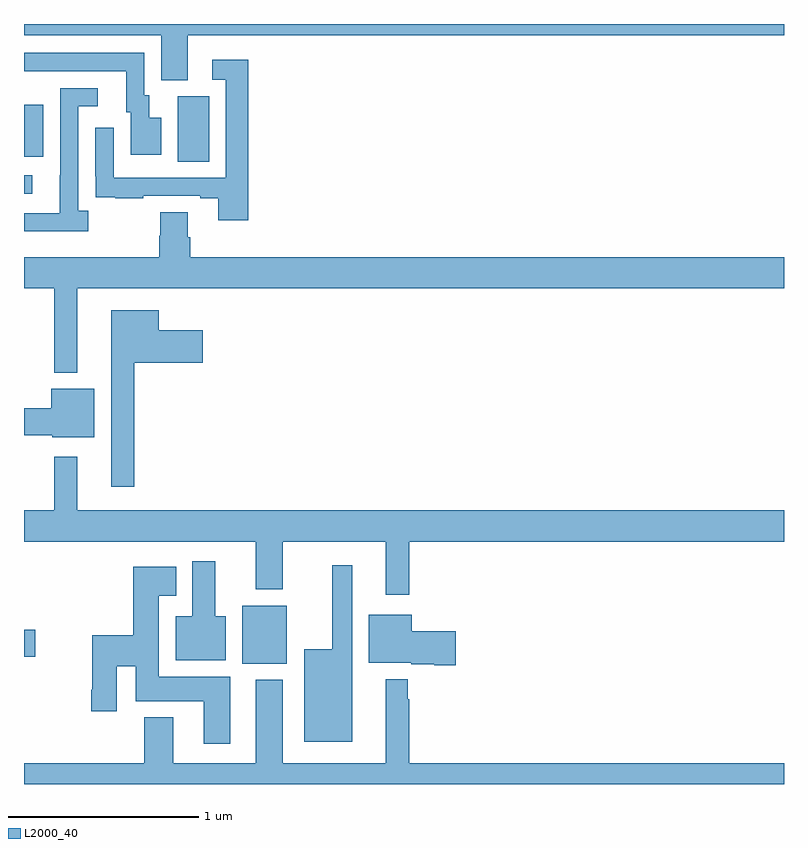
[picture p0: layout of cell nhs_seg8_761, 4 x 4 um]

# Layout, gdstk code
import gdstk
lib = gdstk.Library(unit=1e-6, precision=1e-09)
def R(c, l, rs):  # rectangles x0, y0, x1, y1
    for r in rs: c.add(gdstk.rectangle(r[:2], r[2:], *l))
def P(c, l, *ps):  # polygons
    for p in ps: c.add(gdstk.Polygon(p, *l))
L2000_40 = (2000, 40)

nhs_seg8_761 = lib.new_cell('nhs_seg8_761')
R(nhs_seg8_761, L2000_40, [(162.149,1106.534,162.382,1106.839), (161,1106.57,161.059,1106.712), (161,1109.007,161.044,1109.103), (161.81,1109.176,161.974,1109.52), (161,1109.201,161.101,1109.476)])
P(nhs_seg8_761, L2000_40, [(161.863,1109.84),(165,1109.84),(165,1109.9),(161,1109.9),(161,1109.84),(161.723,1109.84),(161.723,1109.605),(161.863,1109.605)],
  [(161.722,1109.407),(161.659,1109.407),(161.659,1109.526),(161.634,1109.526),(161.634,1109.748),(161,1109.748),(161,1109.652),(161.537,1109.652),(161.537,1109.436),(161.561,1109.436),(161.561,1109.211),(161.722,1109.211)],
  [(162.179,1109.713),(161.991,1109.713),(161.991,1109.607),(162.063,1109.607),(162.063,1109.091),(161.472,1109.091),(161.472,1109.353),(161.376,1109.353),(161.376,1109.098),(161.377,1109.098),(161.377,1108.989),(161.479,1108.989),(161.479,1108.983),(161.627,1108.983),(161.627,1108.995),(161.927,1108.995),(161.927,1108.983),(162.023,1108.983),(162.023,1108.866),(162.179,1108.866)],
  [(161.338,1108.918),(161.286,1108.918),(161.286,1109.466),(161.389,1109.466),(161.389,1109.562),(161.19,1109.562),(161.19,1109.105),(161.189,1109.105),(161.189,1108.905),(161,1108.905),(161,1108.808),(161.338,1108.808)],
  [(161.281,1108.508),(165,1108.508),(165,1108.672),(161.876,1108.672),(161.876,1108.778),(161.863,1108.778),(161.863,1108.91),(161.716,1108.91),(161.716,1108.785),(161.711,1108.785),(161.711,1108.672),(161,1108.672),(161,1108.508),(161.16,1108.508),(161.16,1108.064),(161.281,1108.064)],
  [(161.581,1108.118),(161.941,1108.118),(161.941,1108.288),(161.71,1108.288),(161.71,1108.393),(161.459,1108.393),(161.459,1107.465),(161.581,1107.465)],
  [(161.371,1107.979),(161.144,1107.979),(161.144,1107.878),(161,1107.878),(161,1107.736),(161.148,1107.736),(161.148,1107.725),(161.371,1107.725)],
  [(163.027,1107.176),(165,1107.176),(165,1107.34),(161.281,1107.34),(161.281,1107.622),(161.16,1107.622),(161.16,1107.34),(161,1107.34),(161,1107.176),(162.221,1107.176),(162.221,1106.924),(162.361,1106.924),(162.361,1107.176),(162.905,1107.176),(162.905,1106.895),(163.027,1106.895)],
  [(162.061,1106.782),(162.007,1106.782),(162.007,1107.073),(161.885,1107.073),(161.885,1106.782),(161.798,1106.782),(161.798,1106.552),(162.061,1106.552)],
  [(162.727,1107.052),(162.623,1107.052),(162.623,1106.608),(162.476,1106.608),(162.476,1106.123),(162.727,1106.123)],
  [(162.085,1106.464),(161.71,1106.464),(161.71,1106.891),(161.8,1106.891),(161.8,1107.043),(161.576,1107.043),(161.576,1106.684),(161.359,1106.684),(161.359,1106.395),(161.354,1106.395),(161.354,1106.283),(161.488,1106.283),(161.488,1106.519),(161.588,1106.519),(161.588,1106.336),(161.945,1106.336),(161.945,1106.112),(162.085,1106.112)],
  [(163.273,1106.703),(163.042,1106.703),(163.042,1106.791),(162.815,1106.791),(162.815,1106.537),(163.038,1106.537),(163.038,1106.531),(163.16,1106.531),(163.16,1106.525),(163.273,1106.525)],
  [(165,1106.008),(163.027,1106.008),(163.027,1106.345),(163.019,1106.345),(163.019,1106.452),(162.905,1106.452),(162.905,1106.008),(162.361,1106.008),(162.361,1106.449),(162.221,1106.449),(162.221,1106.008),(161.785,1106.008),(161.785,1106.251),(161.633,1106.251),(161.633,1106.008),(161,1106.008),(161,1105.9),(165,1105.9)])

lib.write_gds('nhs_seg8_761.gds')
